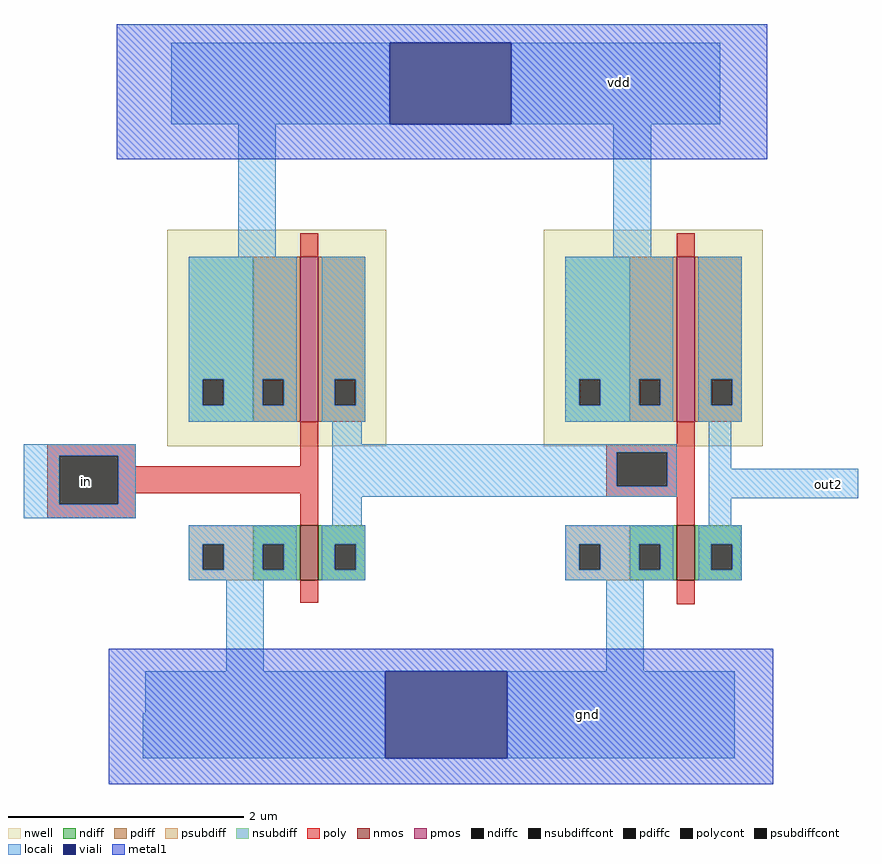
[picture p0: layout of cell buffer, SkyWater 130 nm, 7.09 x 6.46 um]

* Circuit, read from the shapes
.subckt buffer in out2 vdd gnd
XM1 n1 in gnd gnd sky130_fd_pr__nfet_01v8 w=0.47 l=0.15
XM2 out2 n1 gnd gnd sky130_fd_pr__nfet_01v8 w=0.47 l=0.15
XM3 n1 in vdd vdd sky130_fd_pr__pfet_01v8 w=1.4 l=0.15
XM4 out2 n1 vdd vdd sky130_fd_pr__pfet_01v8 w=1.4 l=0.15
.ends

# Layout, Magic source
magic
tech sky130A
<< nwell >>
rect -138 774 48 958
rect 182 774 368 958
<< nmos >>
rect -25 660 -10 707
rect 295 660 310 707
<< pmos >>
rect -25 795 -10 935
rect 295 795 310 935
<< ndiff >>
rect -65 691 -25 707
rect -65 669 -57 691
rect -39 669 -25 691
rect -65 660 -25 669
rect -10 691 30 707
rect -10 669 4 691
rect 22 669 30 691
rect -10 660 30 669
rect 255 691 295 707
rect 255 669 263 691
rect 281 669 295 691
rect 255 660 295 669
rect 310 691 350 707
rect 310 669 324 691
rect 342 669 350 691
rect 310 660 350 669
<< pdiff >>
rect -65 831 -25 935
rect -65 809 -57 831
rect -39 809 -25 831
rect -65 795 -25 809
rect -10 831 30 935
rect -10 809 4 831
rect 22 809 30 831
rect -10 795 30 809
rect 255 831 295 935
rect 255 809 263 831
rect 281 809 295 831
rect 255 795 295 809
rect 310 831 350 935
rect 310 809 324 831
rect 342 809 350 831
rect 310 795 350 809
<< ndiffc >>
rect -57 669 -39 691
rect 4 669 22 691
rect 263 669 281 691
rect 324 669 342 691
<< pdiffc >>
rect -57 809 -39 831
rect 4 809 22 831
rect 263 809 281 831
rect 324 809 342 831
<< psubdiff >>
rect -120 691 -65 707
rect -120 669 -108 691
rect -90 669 -65 691
rect -120 660 -65 669
rect 200 691 255 707
rect 200 669 212 691
rect 230 669 255 691
rect 200 660 255 669
<< nsubdiff >>
rect -120 831 -65 935
rect -120 809 -108 831
rect -90 809 -65 831
rect -120 795 -65 809
rect 200 831 255 935
rect 200 809 212 831
rect 230 809 255 831
rect 200 795 255 809
<< psubdiffcont >>
rect -108 669 -90 691
rect 212 669 230 691
<< nsubdiffcont >>
rect -108 809 -90 831
rect 212 809 230 831
<< poly >>
rect -25 935 -10 955
rect 295 935 310 955
rect -240 766 -165 776
rect -240 725 -230 766
rect -180 757 -165 766
rect -25 757 -10 795
rect 295 776 310 795
rect -180 734 -10 757
rect -180 725 -165 734
rect -240 713 -165 725
rect -25 707 -10 734
rect 235 769 310 776
rect 235 740 244 769
rect 287 740 310 769
rect 235 731 310 740
rect 295 707 310 731
rect -25 641 -10 660
rect 295 640 310 660
<< polycont >>
rect -230 725 -180 766
rect 244 740 287 769
<< locali >>
rect -135 1048 51 1117
rect 154 1048 332 1117
rect -78 935 -46 1048
rect 241 935 273 1048
rect -120 831 -28 935
rect -120 809 -108 831
rect -90 809 -57 831
rect -39 809 -28 831
rect -120 795 -28 809
rect -7 831 30 935
rect -7 809 4 831
rect 22 809 30 831
rect -7 795 30 809
rect 200 831 292 935
rect 200 809 212 831
rect 230 809 263 831
rect 281 809 292 831
rect 200 795 292 809
rect 313 831 350 935
rect 313 809 324 831
rect 342 809 350 831
rect 313 795 350 809
rect 2 776 27 795
rect -260 766 -165 776
rect -260 725 -230 766
rect -180 725 -165 766
rect -260 713 -165 725
rect 2 769 295 776
rect 2 740 244 769
rect 287 740 295 769
rect 2 731 295 740
rect 322 755 341 795
rect 2 707 27 731
rect 322 730 449 755
rect 322 707 341 730
rect -120 691 -28 707
rect -120 669 -108 691
rect -90 669 -57 691
rect -39 669 -28 691
rect -120 660 -28 669
rect -7 691 30 707
rect -7 669 4 691
rect 22 669 30 691
rect -7 660 30 669
rect 200 691 292 707
rect 200 669 212 691
rect 230 669 263 691
rect 281 669 292 691
rect 200 660 292 669
rect 313 691 350 707
rect 313 669 324 691
rect 342 669 350 691
rect 313 660 350 669
rect -88 583 -56 660
rect 235 583 267 660
rect -157 547 47 583
rect -159 509 47 547
rect 151 509 344 583
<< viali >>
rect 51 1048 154 1117
rect 47 509 151 583
<< metal1 >>
rect -181 1117 372 1133
rect -181 1048 51 1117
rect 154 1048 372 1117
rect -181 1018 372 1048
rect -188 583 377 602
rect -188 509 47 583
rect 151 509 377 583
rect -188 487 377 509
<< labels >>
rlabel polycont -230 725 -183 764 1 in
port 1 n
rlabel locali 414 736 434 748 1 out2
port 2 n
rlabel metal1 227 1069 265 1098 1 vdd
port 3 n
rlabel metal1 200 532 238 561 1 gnd
port 4 n
<< end >>
